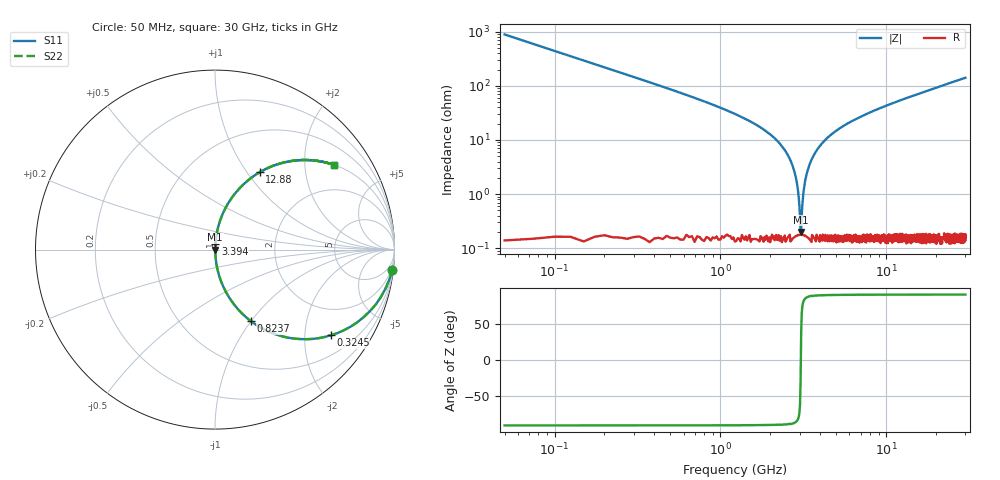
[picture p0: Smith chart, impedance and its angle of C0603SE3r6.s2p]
!	AVX Thin Film Operation 	Date: April 2014
!	Description: Accu-P® Series, Thin Film  SMD RF Capacitor
!	Part Number: 06031J3R6ABSTR
# MHZ S MA R 50
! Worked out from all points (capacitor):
!   1201 points, 50 MHz to 30 GHz, reference 50 ohm
!   read as one part in series: C = 3.6 pF near 199.8 MHz
!   lowest |Z| = 199 mohm at 3.045 GHz (marker M1)
!   series resonance near 3.055 GHz, so ESL is about 750 pH
!   S11 on the Smith chart (normalised r, x): 50 MHz: 1, -18; 324.5 MHz: 1.01, -2.69; 823.7 MHz: 1.00, -1.00; 3.394 GHz: 1.00, +0.06; 12.88 GHz: 1.00, +1.15; 30 GHz: 1.00, +2.81
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50  0.994 -6.5  0.112 83.5  0.112 83.5  0.994 -6.5
324.542  0.802 -36.6  0.596 53.4  0.596 53.4  0.802 -36.6
574.125  0.596 -53.3  0.802 36.6  0.802 36.6  0.596 -53.3
823.708  0.445 -63.4  0.894 26.4  0.894 26.4  0.445 -63.4
1397.75  0.242 -75.6  0.969 14.0  0.969 14.0  0.242 -75.6
2421.042  0.068 -84.8  0.996 3.9  0.996 3.9  0.068 -84.8
2745.5  0.031 -85.4  0.998 1.8  0.998 1.8  0.031 -85.4
2845.333  0.021 -84.5  0.998 1.2  0.998 1.2  0.021 -84.5
2945.167  0.011 -81.1  0.998 0.6  0.998 0.6  0.011 -81.1
3045  0.001782 -30.3  0.998 0.1  0.998 0.1  0.001782 -30.3
3144.833  0.008563 79.2  0.998 -0.5  0.998 -0.5  0.008563 79.2
3269.625  0.02 84.4  0.998 -1.1  0.998 -1.1  0.02 84.4
3394.417  0.031 85.4  0.998 -1.8  0.998 -1.8  0.031 85.4
3968.458  0.076 84.5  0.996 -4.4  0.996 -4.4  0.076 84.5
5041.667  0.149 80.8  0.987 -8.6  0.987 -8.6  0.149 80.8
6988.417  0.258 74.7  0.965 -15.0  0.965 -15.0  0.258 74.7
10058.29  0.397 66.4  0.917 -23.4  0.917 -23.4  0.397 66.4
12878.58  0.498 59.9  0.866 -29.9  0.866 -29.9  0.498 59.9
15025  0.563 55.6  0.825 -34.3  0.825 -34.3  0.563 55.6
20016.67  0.679 47.1  0.733 -42.8  0.733 -42.8  0.679 47.1
25033.29  0.759 40.5  0.65 -49.4  0.65 -49.4  0.759 40.5
30000  0.815 35.4  0.579 -54.6  0.579 -54.6  0.815 35.4
